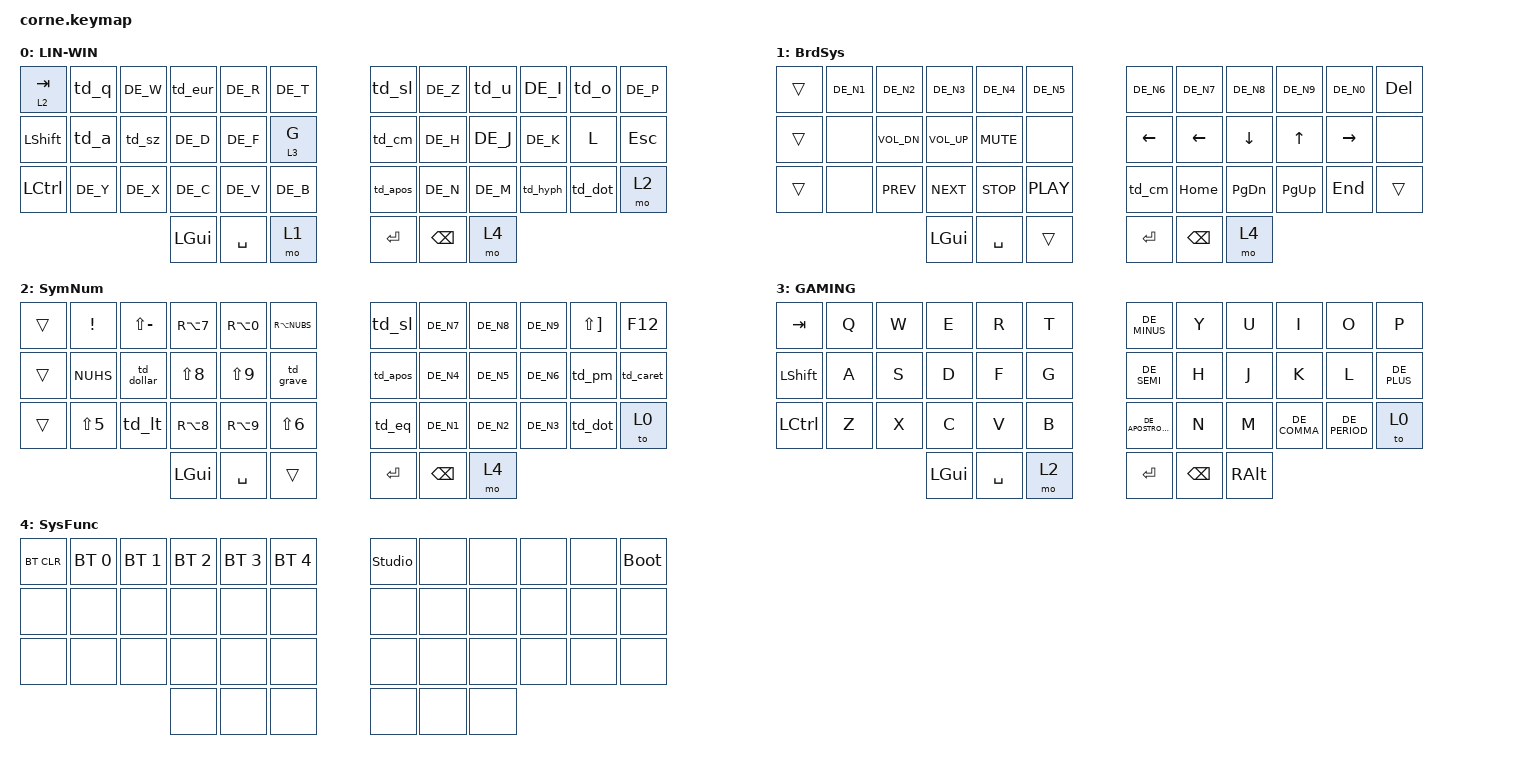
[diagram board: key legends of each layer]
/*
 * German (QWERTZ) keymap for a 42-key Corne, ZMK v0.3
 *
 * Requirements:
 *   - config/keys_de.h from the ZMK locale headers (German)
 *   - your operating system set to the German (Germany) keyboard layout
 *
 * Letters, digits, umlauts and ß use the DE_ names from keys_de.h.
 * Symbols use plain ZMK key codes (comments show the character you get on a
 * German OS layout), so they don't depend on names inside the header.
 */

#include <behaviors.dtsi>
#include <dt-bindings/zmk/bt.h>
#include <dt-bindings/zmk/keys.h>
#include "keys_de.h"

#define BASE   0
#define LOWER  1
#define RAISE  2
#define GAMING 3
#define ADJUST 4

/ {
    /* Hold LOWER + RAISE together to get ADJUST (Bluetooth, Studio, bootloader) */

    conditional_layers {
        compatible = "zmk,conditional-layers";

        tri_layer {
            if-layers = <1 2>;
            then-layer = <4>;
        };
    };

    behaviors {
        /* Tap = letter, double tap = umlaut */

        td_a: tap_dance_a {
            compatible = "zmk,behavior-tap-dance";
            #binding-cells = <0>;
            tapping-term-ms = <150>;
            bindings = <&kp DE_A>, <&kp DE_A_UMLAUT>;
        };

        td_o: tap_dance_o {
            compatible = "zmk,behavior-tap-dance";
            #binding-cells = <0>;
            tapping-term-ms = <150>;
            bindings = <&kp DE_O>, <&kp DE_O_UMLAUT>;
        };

        /* Double tap q = @ (AltGr + Q on a German layout) */

        td_q: tap_dance_q {
            compatible = "zmk,behavior-tap-dance";
            #binding-cells = <0>;
            tapping-term-ms = <150>;
            bindings = <&kp DE_Q>, <&kp RA(Q)>;
        };

        td_u: tap_dance_u {
            compatible = "zmk,behavior-tap-dance";
            #binding-cells = <0>;
            tapping-term-ms = <150>;
            bindings = <&kp DE_U>, <&kp DE_U_UMLAUT>;
        };

        td_sl: tap_dance_sl {
            compatible = "zmk,behavior-tap-dance";
            #binding-cells = <0>;
            tapping-term-ms = <150>;
            bindings = <&kp RA(MINUS)>, <&kp LS(N7)>;
        };

        td_cm: tap_dance_cm {
            compatible = "zmk,behavior-tap-dance";
            #binding-cells = <0>;
            tapping-term-ms = <150>;
            bindings = <&kp COMMA>, <&kp LS(COMMA)>;
        };

        td_dot: tap_dance_dot {
            compatible = "zmk,behavior-tap-dance";
            #binding-cells = <0>;
            tapping-term-ms = <150>;
            bindings = <&kp DOT>, <&kp LS(DOT)>;
        };

        td_apos: tap_dance_apos {
            compatible = "zmk,behavior-tap-dance";
            #binding-cells = <0>;
            tapping-term-ms = <150>;
            bindings = <&kp LS(NUHS)>, <&kp LS(N2)>;
        };

        td_hyph: tap_dance_hyph {
            compatible = "zmk,behavior-tap-dance";
            #binding-cells = <0>;
            tapping-term-ms = <150>;
            bindings = <&kp FSLH>, <&kp LS(FSLH)>;
        };

        td_eur: tap_dance_eur {
            compatible = "zmk,behavior-tap-dance";
            #binding-cells = <0>;
            tapping-term-ms = <150>;
            bindings = <&kp DE_E>, <&kp RA(E)>;
        };

        td_sz: tap_dance_sz {
            compatible = "zmk,behavior-tap-dance";
            #binding-cells = <0>;
            tapping-term-ms = <150>;
            bindings = <&kp DE_S>, <&kp DE_SZ>;
        };

        td_eq: tap_dance_eq {
            compatible = "zmk,behavior-tap-dance";
            #binding-cells = <0>;
            tapping-term-ms = <150>;
            bindings = <&kp LS(N0)>, <&kp RA(RBKT)>;

            /* =  ~  */
        };

        td_dollar: tap_dance_dollar {
            compatible = "zmk,behavior-tap-dance";
            #binding-cells = <0>;
            tapping-term-ms = <150>;
            bindings = <&kp LS(N4)>, <&kp LS(N3)>;

            /* $  §  */
        };

        td_lt: tap_dance_lt {
            compatible = "zmk,behavior-tap-dance";
            #binding-cells = <0>;
            tapping-term-ms = <150>;
            bindings = <&kp NUBS>, <&kp LS(NUBS)>;

            /* <  >  */
        };

        td_caret: tap_dance_caret {
            compatible = "zmk,behavior-tap-dance";
            #binding-cells = <0>;
            tapping-term-ms = <150>;
            bindings = <&kp GRAVE>, <&kp RA(RBKT)>;

            /* ^  ~  (^ is a dead key) */
        };

        td_grave: tap_dance_grave {
            compatible = "zmk,behavior-tap-dance";
            #binding-cells = <0>;
            tapping-term-ms = <150>;
            bindings = <&kp LS(EQUAL)>, <&kp EQUAL>;

            /* `  ´  (dead keys) */
        };

        td_pm: tap_dance_pm {
            compatible = "zmk,behavior-tap-dance";
            #binding-cells = <0>;
            tapping-term-ms = <150>;
            bindings = <&kp RBKT>, <&kp FSLH>;

            /* `  ´  (dead keys) */
        };

        lt_SymNum: lt_SymNum {
            compatible = "zmk,behavior-hold-tap";
            #binding-cells = <2>;
            flavor = "balanced";
            tapping-term-ms = <200>;
            quick-tap-ms = <150>;
            bindings = <&mo>, <&kp>;

            label = "LT_SYMNUM";
        };

        lt_gaming: lt_gaming {
            compatible = "zmk,behavior-hold-tap";
            bindings = <&tog>, <&kp>;

            #binding-cells = <2>;
            tapping-term-ms = <200>;
            quick-tap-ms = <150>;
            flavor = "tap-preferred";
        };
    };

    keymap {
        compatible = "zmk,keymap";

        LIN-WIN {
            label = "LIN-WIN";
            bindings = <
&lt 2 TAB  &td_q     &kp DE_W  &td_eur   &kp DE_R   &kp DE_T          &td_sl    &kp DE_Z  &td_u     &kp DE_I  &td_o    &kp DE_P
&kp LSHFT  &td_a     &td_sz    &kp DE_D  &kp DE_F   &lt_gaming 3 G    &td_cm    &kp DE_H  &kp DE_J  &kp DE_K  &kp L    &kp ESC
&kp LCTRL  &kp DE_Y  &kp DE_X  &kp DE_C  &kp DE_V   &kp DE_B          &td_apos  &kp DE_N  &kp DE_M  &td_hyph  &td_dot  &mo 2
                               &kp LGUI  &kp SPACE  &mo 1             &kp RET   &kp BSPC  &mo 4
            >;
        };

        BrdSys {
            label = "BrdSys";
            bindings = <
&trans  &kp DE_N1  &kp DE_N2     &kp DE_N3     &kp DE_N4   &kp DE_N5     &kp DE_N6  &kp DE_N7  &kp DE_N8  &kp DE_N9  &kp DE_N0  &kp DEL
&trans  &none      &kp C_VOL_DN  &kp C_VOL_UP  &kp C_MUTE  &none         &kp LEFT   &kp LEFT   &kp DOWN   &kp UP     &kp RIGHT  &none
&trans  &none      &kp C_PREV    &kp C_NEXT    &kp C_STOP  &kp C_PLAY    &td_cm     &kp HOME   &kp PG_DN  &kp PG_UP  &kp END    &trans
                                 &kp LGUI      &kp SPACE   &trans        &kp RET    &kp BSPC   &mo 4
            >;
        };

        SymNum {
            label = "SymNum";
            bindings = <
&trans  &kp EXCL    &kp LS(MINUS)  &kp RA(N7)  &kp RA(N0)  &kp RA(NUBS)    &td_sl    &kp DE_N7  &kp DE_N8  &kp DE_N9  &kp LS(RBKT)  &kp F12
&trans  &kp NUHS    &td_dollar     &kp LS(N8)  &kp LS(N9)  &td_grave       &td_apos  &kp DE_N4  &kp DE_N5  &kp DE_N6  &td_pm        &td_caret
&trans  &kp LS(N5)  &td_lt         &kp RA(N8)  &kp RA(N9)  &kp LS(N6)      &td_eq    &kp DE_N1  &kp DE_N2  &kp DE_N3  &td_dot       &to 0
                                   &kp LGUI    &kp SPACE   &trans          &kp RET   &kp BSPC   &mo 4
            >;
        };

        Gaming {
            label = "GAMING";
            bindings = <
&kp TAB    &kp Q  &kp W  &kp E     &kp R      &kp T    &kp DE_MINUS       &kp Y     &kp U     &kp I         &kp O          &kp P
&kp LSHFT  &kp A  &kp S  &kp D     &kp F      &kp G    &kp DE_SEMI        &kp H     &kp J     &kp K         &kp L          &kp DE_PLUS
&kp LCTRL  &kp Z  &kp X  &kp C     &kp V      &kp B    &kp DE_APOSTROPHE  &kp N     &kp M     &kp DE_COMMA  &kp DE_PERIOD  &to 0
                         &kp LGUI  &kp SPACE  &mo 2    &kp ENTER          &kp BSPC  &kp RALT
            >;
        };

        SysFunc {
            label = "SysFunc";
            bindings = <
&bt BT_CLR  &bt BT_SEL 0  &bt BT_SEL 1  &bt BT_SEL 2  &bt BT_SEL 3  &bt BT_SEL 4    &studio_unlock  &none  &none  &none  &none  &bootloader
&none       &none         &none         &none         &none         &none           &none           &none  &none  &none  &none  &none
&none       &none         &none         &none         &none         &none           &none           &none  &none  &none  &none  &none
                                        &none         &none         &none           &none           &none  &none
            >;
        };
    };
};
